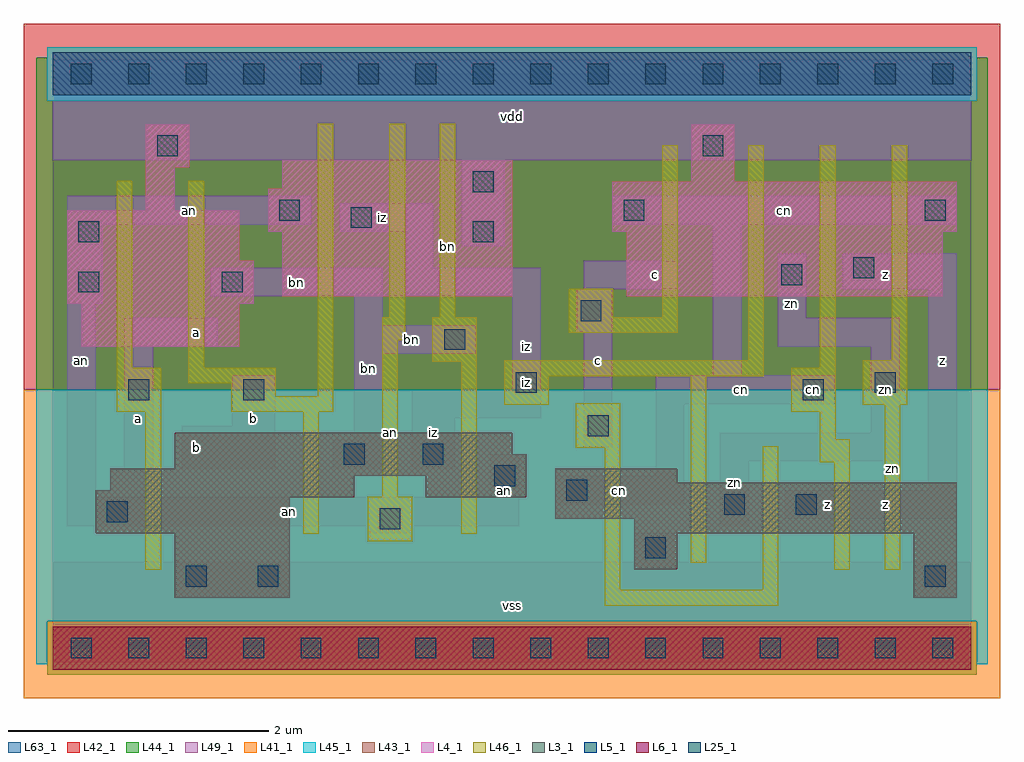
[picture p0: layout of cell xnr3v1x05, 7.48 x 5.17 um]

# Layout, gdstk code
import gdstk
lib = gdstk.Library(unit=1e-6, precision=1e-09)
def R(c, l, rs):  # rectangles x0, y0, x1, y1
    for r in rs: c.add(gdstk.rectangle(r[:2], r[2:], *l))
def A(c, l, x, y, w, h, nx, ny, dx, dy):  # array of equal rectangles
    R(c, l, [(x+i*dx, y+j*dy, x+i*dx+w, y+j*dy+h) for i in range(nx) for j in range(ny)])
L3_1 = (3, 1)
L4_1 = (4, 1)
L5_1 = (5, 1)
L6_1 = (6, 1)
L25_1 = (25, 1)
L41_1 = (41, 1)
L42_1 = (42, 1)
L43_1 = (43, 1)
L44_1 = (44, 1)
L45_1 = (45, 1)
L46_1 = (46, 1)
L49_1 = (49, 1)
L63_1 = (63, 1)

xnr3v1x05 = lib.new_cell('xnr3v1x05')
R(xnr3v1x05, L3_1, [(0.935,0.385,1.815,0.88), (6.6,0.385,6.93,0.88), (4.455,0.605,4.785,0.88), (0.33,0.88,1.815,1.155), (4.455,0.88,6.93,0.99), (3.85,0.99,6.93,1.265), (0.33,1.155,2.31,1.21), (2.86,1.155,3.63,1.32), (0.44,1.21,2.31,1.32), (3.85,1.265,4.785,1.375), (0.44,1.32,3.63,1.375), (0.935,1.375,3.63,1.485), (0.935,1.485,3.52,1.65)])
R(xnr3v1x05, L4_1, [(0.22,2.31,1.43,2.64), (0.11,2.64,1.54,2.97), (1.76,2.695,3.52,3.19), (4.4,2.695,6.82,3.19), (0.11,2.97,1.43,3.355), (1.65,3.19,3.52,3.52), (4.29,3.19,6.93,3.575), (0.715,3.355,0.935,3.685), (1.76,3.52,3.52,3.74), (4.895,3.575,5.225,4.015), (0.715,3.685,1.045,4.015)])
R(xnr3v1x05, L5_1, [(0,4.235,7.04,4.565)])
R(xnr3v1x05, L6_1, [(0,-0.165,7.04,0.165)])
A(xnr3v1x05, L25_1, 0.14, -0.08, 0.16, 0.16, 16, 2, 0.44, 4.4)
R(xnr3v1x05, L25_1, [(1.02,0.47,1.18,0.63), (1.57,0.47,1.73,0.63), (6.685,0.47,6.845,0.63), (4.54,0.69,4.7,0.85), (2.505,0.91,2.665,1.07), (0.415,0.965,0.575,1.125), (5.145,1.02,5.305,1.18), (5.695,1.02,5.855,1.18), (3.935,1.13,4.095,1.29), (3.385,1.24,3.545,1.4), (2.23,1.405,2.39,1.565), (2.835,1.405,2.995,1.565), (4.1,1.625,4.26,1.785), (0.58,1.9,0.74,2.06), (1.46,1.9,1.62,2.06), (5.75,1.9,5.91,2.06), (3.55,1.955,3.71,2.115), (6.3,1.955,6.46,2.115), (3,2.285,3.16,2.445), (4.045,2.505,4.205,2.665), (0.195,2.725,0.355,2.885), (1.295,2.725,1.455,2.885), (5.585,2.78,5.745,2.94), (6.135,2.835,6.295,2.995), (0.195,3.11,0.355,3.27), (3.22,3.11,3.38,3.27), (2.285,3.22,2.445,3.38), (1.735,3.275,1.895,3.435), (4.375,3.275,4.535,3.435), (6.685,3.275,6.845,3.435), (3.22,3.495,3.38,3.655), (0.8,3.77,0.96,3.93), (4.98,3.77,5.14,3.93)])
R(xnr3v1x05, L41_1, [(-0.22,-0.385,7.26,1.98)])
R(xnr3v1x05, L42_1, [(-0.22,1.98,7.26,4.785)])
R(xnr3v1x05, L43_1, [(0,-0.165,7.04,0.165), (0.935,0.385,1.815,0.88), (6.6,0.385,6.93,0.88), (4.455,0.605,4.785,0.88), (0.33,0.88,1.815,1.155), (4.455,0.88,6.93,0.99), (3.85,0.99,6.93,1.265), (0.33,1.155,2.31,1.21), (2.86,1.155,3.63,1.32), (0.44,1.21,2.31,1.32), (3.85,1.265,4.785,1.375), (0.44,1.32,3.63,1.375), (0.935,1.375,3.63,1.485), (0.935,1.485,3.52,1.65), (0.22,2.31,1.43,2.64), (0.11,2.64,1.54,2.97), (1.76,2.695,3.52,3.19), (4.4,2.695,6.82,3.19), (0.11,2.97,1.43,3.355), (1.65,3.19,3.52,3.52), (4.29,3.19,6.93,3.575), (0.715,3.355,0.935,3.685), (1.76,3.52,3.52,3.74), (4.895,3.575,5.225,4.015), (0.715,3.685,1.045,4.015), (0,4.235,7.04,4.565)])
R(xnr3v1x05, L44_1, [(-0.04,-0.205,7.08,0.205), (-0.125,1.98,7.165,4.195), (-0.125,4.195,-0.04,4.525), (7.08,4.195,7.165,4.525)])
R(xnr3v1x05, L45_1, [(-0.125,-0.125,-0.04,0.205), (7.08,-0.125,7.165,0.205), (-0.125,0.205,7.165,1.98), (-0.04,4.195,7.08,4.605)])
R(xnr3v1x05, L46_1, [(4.23,0.325,5.56,0.445), (4.23,0.445,4.35,1.535), (5.44,0.445,5.56,1.545), (0.71,0.6,0.83,1.81), (5.99,0.6,6.11,1.425), (6.375,0.6,6.495,1.865), (4.89,0.655,5.01,2.085), (2.415,0.82,2.755,1.16), (1.92,0.875,2.04,1.81), (3.13,0.875,3.25,2.195), (2.525,1.16,2.645,2.36), (5.88,1.425,6.11,1.6), (4.01,1.535,4.35,1.875), (5.88,1.6,6,1.81), (0.49,1.81,0.83,2.15), (1.37,1.81,2.15,1.93), (5.66,1.81,6,2.15), (3.46,1.865,3.8,2.085), (6.21,1.865,6.55,2.205), (1.37,1.93,1.71,2.03), (2.03,1.93,2.15,4.02), (1.04,2.03,1.71,2.15), (3.46,2.085,5.45,2.205), (0.49,2.15,0.61,3.58), (1.04,2.15,1.16,3.58), (5.88,2.15,6,3.855), (2.91,2.195,3.25,2.535), (5.33,2.205,5.45,3.855), (6.43,2.205,6.55,3.855), (2.525,2.36,2.7,2.535), (3.955,2.415,4.79,2.535), (2.58,2.535,2.7,4.02), (2.965,2.535,3.085,4.02), (3.955,2.535,4.295,2.755), (4.67,2.535,4.79,3.855)])
R(xnr3v1x05, L49_1, [(0,-0.11,7.04,0.66), (4.455,0.66,4.785,0.88), (2.42,0.88,2.75,0.935), (0.11,0.935,3.575,1.155), (5.115,0.935,5.335,1.43), (5.61,0.99,6.93,1.21), (3.85,1.1,4.84,1.32), (0.11,1.155,0.33,2.64), (3.355,1.155,3.575,1.485), (6.71,1.21,6.93,2.75), (4.62,1.32,4.84,1.87), (0.55,1.375,0.77,2.31), (0.99,1.375,1.705,1.705), (2.145,1.375,2.53,1.595), (2.75,1.375,3.08,1.76), (5.115,1.43,6.49,1.65), (4.07,1.54,4.29,2.42), (2.31,1.595,2.53,2.255), (6.27,1.65,6.49,2.31), (1.375,1.705,1.705,2.09), (2.75,1.76,3.74,1.98), (4.62,1.87,5.995,2.09), (3.52,1.98,3.74,2.695), (5.06,2.09,5.28,3.245), (2.31,2.255,3.245,2.475), (0.55,2.31,1.265,2.53), (5.555,2.31,6.49,2.53), (4.015,2.42,4.29,2.75), (2.31,2.475,2.53,2.695), (5.555,2.53,5.775,3.025), (0.11,2.64,0.385,3.245), (1.21,2.695,2.53,2.915), (2.695,2.695,3.74,2.915), (4.07,2.75,4.785,2.97), (6.05,2.75,6.93,3.025), (2.695,2.915,2.915,3.19), (3.135,3.08,3.465,3.74), (2.2,3.19,2.915,3.41), (0.11,3.245,1.98,3.465), (4.29,3.245,6.93,3.465), (0,3.74,7.04,4.51)])
R(xnr3v1x05, L63_1, [(0,0,7.04,4.4)])
xnr3v1x05.add(gdstk.Label('an', (2.585,1.65), layer=46, texttype=1))
xnr3v1x05.add(gdstk.Label('bn', (3.025,3.08), layer=46, texttype=1))
xnr3v1x05.add(gdstk.Label('iz', (3.63,2.035), layer=49, texttype=1))
xnr3v1x05.add(gdstk.Label('cn', (5.83,1.98), layer=49, texttype=1))
xnr3v1x05.add(gdstk.Label('zn', (6.435,1.375), layer=46, texttype=1))
xnr3v1x05.add(gdstk.Label('b', (1.1,1.54), layer=49, texttype=1))
xnr3v1x05.add(gdstk.Label('a', (0.66,1.76), layer=49, texttype=1))
xnr3v1x05.add(gdstk.Label('a', (1.1,2.42), layer=49, texttype=1))
xnr3v1x05.add(gdstk.Label('an', (0.22,2.2), layer=49, texttype=1))
xnr3v1x05.add(gdstk.Label('b', (1.54,1.76), layer=49, texttype=1))
xnr3v1x05.add(gdstk.Label('bn', (1.87,2.805), layer=49, texttype=1))
xnr3v1x05.add(gdstk.Label('bn', (2.42,2.145), layer=49, texttype=1))
xnr3v1x05.add(gdstk.Label('an', (1.045,3.355), layer=49, texttype=1))
xnr3v1x05.add(gdstk.Label('vss', (3.52,0.33), layer=49, texttype=1))
xnr3v1x05.add(gdstk.Label('an', (1.815,1.045), layer=49, texttype=1))
xnr3v1x05.add(gdstk.Label('an', (3.465,1.21), layer=49, texttype=1))
xnr3v1x05.add(gdstk.Label('iz', (2.915,1.65), layer=49, texttype=1))
xnr3v1x05.add(gdstk.Label('bn', (2.75,2.365), layer=49, texttype=1))
xnr3v1x05.add(gdstk.Label('iz', (3.63,2.31), layer=49, texttype=1))
xnr3v1x05.add(gdstk.Label('iz', (2.53,3.3), layer=49, texttype=1))
xnr3v1x05.add(gdstk.Label('vdd', (3.52,4.07), layer=49, texttype=1))
xnr3v1x05.add(gdstk.Label('cn', (4.345,1.21), layer=49, texttype=1))
xnr3v1x05.add(gdstk.Label('zn', (5.225,1.265), layer=49, texttype=1))
xnr3v1x05.add(gdstk.Label('c', (4.18,2.2), layer=49, texttype=1))
xnr3v1x05.add(gdstk.Label('c', (4.62,2.86), layer=49, texttype=1))
xnr3v1x05.add(gdstk.Label('z', (6.38,1.1), layer=49, texttype=1))
xnr3v1x05.add(gdstk.Label('z', (5.94,1.1), layer=49, texttype=1))
xnr3v1x05.add(gdstk.Label('zn', (6.38,1.98), layer=49, texttype=1))
xnr3v1x05.add(gdstk.Label('cn', (5.28,1.98), layer=49, texttype=1))
xnr3v1x05.add(gdstk.Label('z', (6.82,2.2), layer=49, texttype=1))
xnr3v1x05.add(gdstk.Label('z', (6.38,2.86), layer=49, texttype=1))
xnr3v1x05.add(gdstk.Label('zn', (5.665,2.64), layer=49, texttype=1))
xnr3v1x05.add(gdstk.Label('cn', (5.61,3.355), layer=49, texttype=1))

lib.write_gds('xnr3v1x05.gds')
